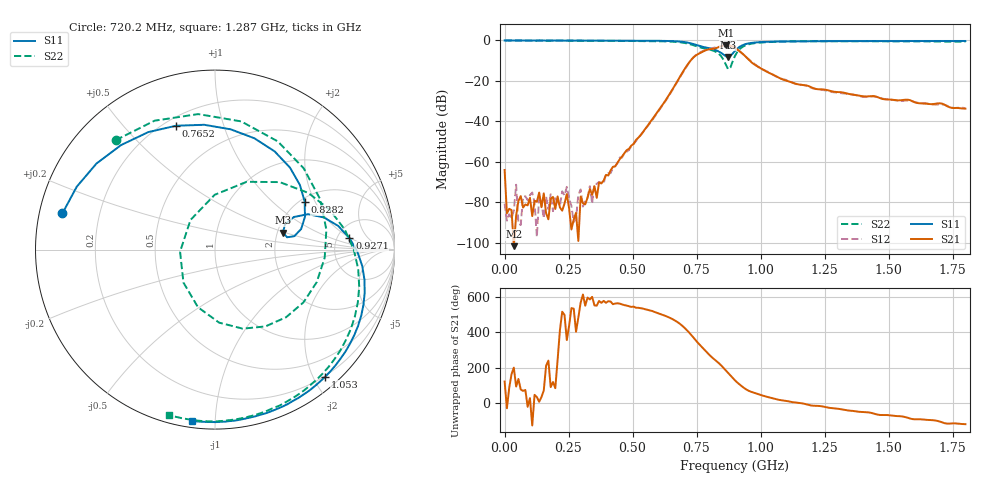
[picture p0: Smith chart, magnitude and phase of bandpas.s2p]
!Agilent Technologies,N5230C,MY48100348,A.08.04.10
!Agilent N5230C: A.08.04.10
!Date: Saturday, November 01, 2025 08:54:11
!Correction: S11(Full 2 Port(1,2))
!S21(Full 2 Port(1,2))
!S12(Full 2 Port(1,2))
!S22(Full 2 Port(1,2))
!S2P File: Measurements: S11, S21, S12, S22:
# Hz S  dB  R 50
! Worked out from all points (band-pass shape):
!   201 points, 300 kHz to 1.8 GHz, reference 50 ohm
!   highest |S21| = -2.31 dB at 864.2 MHz (marker M1); lowest = -101.7 dB at 36.29 MHz (marker M2)
!   |S21| within 3 dB of the highest: 777.5 MHz to 917.8 MHz (140.3 MHz wide, 16.5 % of centre)
!   lowest |S11| = -8.2 dB at 873.2 MHz (marker M3), VSWR 2.28, Z = 107 + j24.1 ohm
!   |S11| at or under -10 dB: nowhere
!   |S22| runs from -14.2 to 0.0 dB; largest |S21 - S12| = 0.044
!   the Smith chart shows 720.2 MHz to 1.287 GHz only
!   S11 on the Smith chart (normalised r, x): 720.2 MHz: 0.07, +0.12; 765.2 MHz: 0.24, +0.71; 828.2 MHz: 2.11, +1.66; 927.1 MHz: 6.48, +1.92; 1.053 GHz: 0.19, -2.17; 1.287 GHz: 0.03, -0.87
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300000  0.00 -0.1  -64.01 121.1  -80.63 41.0  -0.00 0.1
9298500  0.00 -2.9  -85.45 -30.4  -89.07 151.1  0.00 0.8
3.6294e7  -0.01 -4.5  -101.67 -160.0  -84.16 -163.7  -0.00 -4.6
4.52925e7  -0.02 -5.8  -86.67 92.6  -71.30 116.2  -0.01 -5.8
5.4291e7  -0.02 -6.9  -79.28 135.6  -90.47 70.8  -0.02 -6.8
2.16264e8  -0.07 -28.0  -82.51 50.8  -81.85 33.3  -0.07 -28.8
2.432595e8  -0.06 -31.6  -75.90 -4.2  -72.35 92.0  -0.09 -32.4
3.06249e8  -0.07 -40.5  -80.52 -106.3  -82.09 -89.8  -0.13 -41.8
6.031995e8  -0.17 -108.3  -34.37 146.5  -34.58 146.2  -0.39 -114.0
6.84186e8  -0.53 -156.5  -18.14 88.6  -18.34 88.4  -0.87 -173.9
7.2018e8  -1.17 166.6  -11.02 39.9  -11.16 42.5  -1.69 132.2
7.651725e8  -2.81 107.5  -6.11 -34.9  -5.82 -34.0  -3.47 42.5
8.28162e8  -4.94 28.1  -3.70 -123.7  -3.33 -126.5  -5.81 -56.7
8.64156e8  -7.79 9.7  -2.31 -175.7  -2.48 -176.7  -11.89 -133.7
8.731545e8  -8.17 14.1  -2.35 170.0  -2.47 169.5  -14.20 -176.5
9.0015e8  -5.12 20.8  -3.67 127.6  -3.55 127.4  -7.60 65.0
9.271455e8  -2.48 4.9  -6.26 93.7  -6.33 92.3  -3.39 19.1
1.053124e9  -0.56 -49.1  -17.16 23.6  -17.28 21.0  -0.69 -55.1
1.206099e9  -0.36 -83.3  -23.57 -16.0  -23.77 -17.1  -0.38 -90.9
1.287086e9  -0.33 -97.7  -25.34 -30.4  -25.65 -31.3  -0.38 -105.5
1.50305e9  -0.27 -132.0  -29.18 -70.3  -29.13 -71.4  -0.42 -139.1
1.8e9  -0.26 -174.9  -33.70 -120.5  -33.57 -124.3  -0.59 179.6
